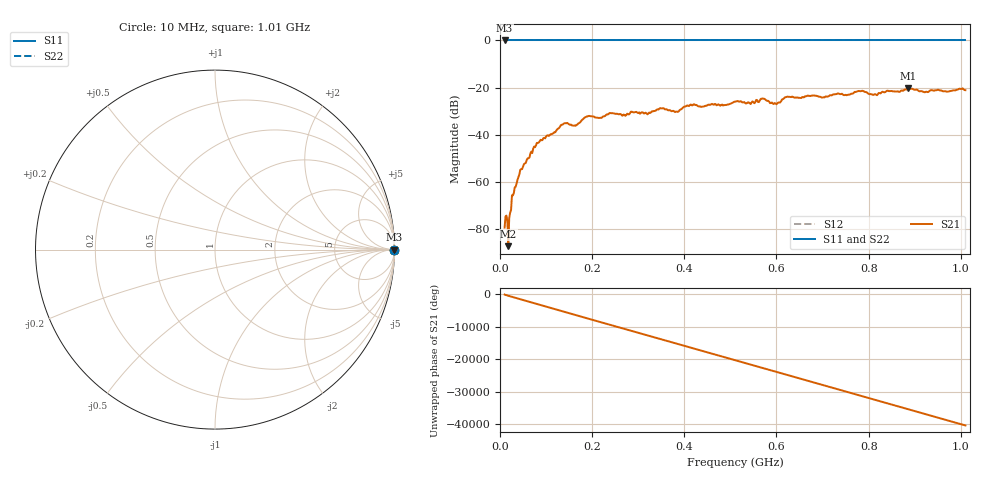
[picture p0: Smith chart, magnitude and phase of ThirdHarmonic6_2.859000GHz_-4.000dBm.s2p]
! 8/17/2025 7:46:40 AM
! C:\ANRITSUVNA\TEMP\TEMP.S2P
! CHANNEL.1
! TR.MEASUREMENT
! RAW.DATA
! RF.CORRECTION.OFF
! AVERAGING.OFF
! IF.BANDWIDTH: 5KHZ
! SWEEPTYPE:  FREQ.SWEEP(Linear)
! Reference Plane Port Info
! PORT:  PORT1  PORT2
! DISTANCE:  0  m  0  m
! TIME:  0  s  0  s
! PHASE.OFFSET:  0  deg.  0  deg.
! LOSS:  0  dB  0  dB
! REF.LOSS:  0  dB  0  dB
! REF.FREQ:  0  Hz  0  Hz
! Power Info
! POWER:  -20  dBm  -20  dBm
! EFF.POWER:  -20  dBm  -20  dBm
! SOURCE.ATTEN:  0  dB  0  dB
! TEST.ATTEN:  0  dB  0  dB
# GHZ S RI R 50.0
! FREQ.GHZ  S11RE  S11IM  S21RE  S21IM  S12RE  S12IM  S22RE  S22IM
!; PortSelection: Port_12
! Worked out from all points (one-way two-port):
!   501 points, 10 MHz to 1.01 GHz, reference 50 ohm
!   highest |S21| = -20.30 dB at 886 MHz (marker M1); lowest = -87.2 dB at 18 MHz (marker M2)
!   lowest |S11| = 0.0 dB at 10 MHz (marker M3)
!   |S11| at or under -10 dB: nowhere
!   |S22| runs from 0.0 to 0.0 dB; largest |S21 - S12| = 1.1
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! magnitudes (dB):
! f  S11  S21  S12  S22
! 10 MHz  0.0  -79.3  0.0  0.0
! 18 MHz  0.0  -87.2  0.0  0.0
! 20 MHz  0.0  -75.3  0.0  0.0
! 30 MHz  0.0  -64.7  0.0  0.0
! 42 MHz  0.0  -56.8  0.0  0.0
! 76 MHz  0.0  -45.2  0.0  0.0
! 136 MHz  0.0  -35.6  0.0  0.0
! 162 MHz  0.0  -36.0  0.0  0.0
! 178 MHz  0.0  -33.7  0.0  0.0
! 192 MHz  0.0  -32.0  0.0  0.0
! 322 MHz  0.0  -30.9  0.0  0.0
! 344 MHz  0.0  -29.3  0.0  0.0
! 384 MHz  0.0  -30.2  0.0  0.0
! 410 MHz  0.0  -27.8  0.0  0.0
! 510 MHz  0.0  -25.9  0.0  0.0
! 570 MHz  0.0  -24.6  0.0  0.0
! 598 MHz  0.0  -26.7  0.0  0.0
! 622 MHz  0.0  -23.9  0.0  0.0
! 678 MHz  0.0  -23.3  0.0  0.0
! 844 MHz  0.0  -21.5  0.0  0.0
! 886 MHz  0.0  -20.3  0.0  0.0
! 1.01 GHz  0.0  -21.1  0.0  0.0
